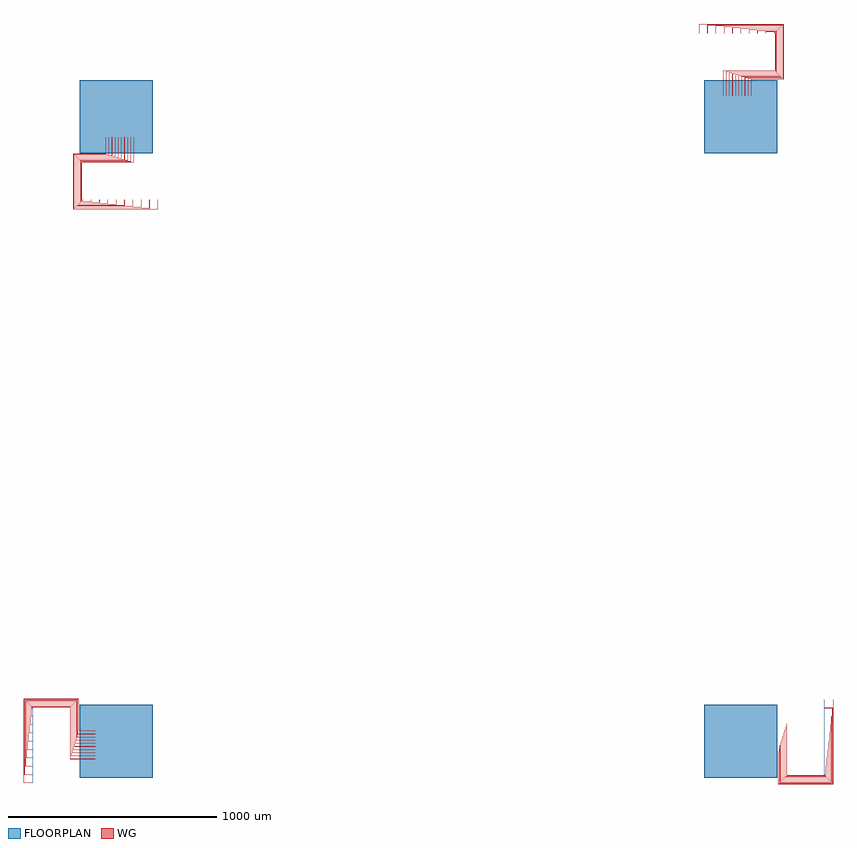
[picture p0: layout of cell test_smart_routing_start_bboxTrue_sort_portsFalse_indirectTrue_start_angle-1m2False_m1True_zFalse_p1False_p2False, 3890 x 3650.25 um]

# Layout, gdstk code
import gdstk
lib = gdstk.Library(unit=1e-6, precision=1e-09)
def R(c, l, rs):  # rectangles x0, y0, x1, y1
    for r in rs: c.add(gdstk.rectangle(r[:2], r[2:], *l))
def P(c, l, *ps):  # polygons
    for p in ps: c.add(gdstk.Polygon(p, *l))
WG = (1, 0)
FLOORPLAN = (10, 0)

test_smart_routing_start = lib.new_cell('test_smart_routing_start_bboxTrue_sort_portsFalse_indirectTrue_start_angle-1m2False_m1True_zFalse_p1False_p2False')
P(test_smart_routing_start, WG, [(-445,-200.25),(-445,205.25),(-179,205.25),(-179,50.25),(-100,50.25),(-100,49.75),(-179.5,49.75),(-179.5,204.75),(-444.5,204.75),(-444.5,-199.75),(-400,-199.75),(-400,-200.25)],
  [(-440.5,-160.25),(-440.5,200.75),(-183.5,200.75),(-183.5,35.25),(-100,35.25),(-100,34.75),(-184,34.75),(-184,200.25),(-440,200.25),(-440,-159.75),(-400,-159.75),(-400,-160.25)],
  [(-436,-120.25),(-436,196.25),(-188,196.25),(-188,20.25),(-100,20.25),(-100,19.75),(-188.5,19.75),(-188.5,195.75),(-435.5,195.75),(-435.5,-119.75),(-400,-119.75),(-400,-120.25)],
  [(-431.5,-80.25),(-431.5,191.75),(-192.5,191.75),(-192.5,5.25),(-100,5.25),(-100,4.75),(-193,4.75),(-193,191.25),(-431,191.25),(-431,-79.75),(-400,-79.75),(-400,-80.25)],
  [(-427,-40.25),(-427,187.25),(-197,187.25),(-197,-9.75),(-100,-9.75),(-100,-10.25),(-197.5,-10.25),(-197.5,186.75),(-426.5,186.75),(-426.5,-39.75),(-400,-39.75),(-400,-40.25)],
  [(-202,-25.25),(-202,182.25),(-422,182.25),(-422,0.25),(-400,0.25),(-400,-0.25),(-422.5,-0.25),(-422.5,182.75),(-201.5,182.75),(-201.5,-24.75),(-100,-24.75),(-100,-25.25)],
  [(-206.5,-40.25),(-206.5,177.75),(-417.5,177.75),(-417.5,40.25),(-400,40.25),(-400,39.75),(-418,39.75),(-418,178.25),(-206,178.25),(-206,-39.75),(-100,-39.75),(-100,-40.25)],
  [(-211,-55.25),(-211,173.25),(-413,173.25),(-413,80.25),(-400,80.25),(-400,79.75),(-413.5,79.75),(-413.5,173.75),(-210.5,173.75),(-210.5,-54.75),(-100,-54.75),(-100,-55.25)],
  [(-215.5,-70.25),(-215.5,168.75),(-408.5,168.75),(-408.5,120.25),(-400,120.25),(-400,119.75),(-409,119.75),(-409,169.25),(-215,169.25),(-215,-69.75),(-100,-69.75),(-100,-70.25)],
  [(-220,-85.25),(-220,164.25),(-404,164.25),(-404,160.25),(-400,160.25),(-400,159.75),(-404.5,159.75),(-404.5,164.75),(-219.5,164.75),(-219.5,-84.75),(-100,-84.75),(-100,-85.25)],
  [(-205.25,2555),(-205.25,2821),(-50.25,2821),(-50.25,2900),(-49.75,2900),(-49.75,2820.5),(-204.75,2820.5),(-204.75,2555.5),(199.75,2555.5),(199.75,2600),(200.25,2600),(200.25,2555)],
  [(-200.75,2559.5),(-200.75,2816.5),(-35.25,2816.5),(-35.25,2900),(-34.75,2900),(-34.75,2816),(-200.25,2816),(-200.25,2560),(159.75,2560),(159.75,2600),(160.25,2600),(160.25,2559.5)],
  [(-196.25,2564),(-196.25,2812),(-20.25,2812),(-20.25,2900),(-19.75,2900),(-19.75,2811.5),(-195.75,2811.5),(-195.75,2564.5),(119.75,2564.5),(119.75,2600),(120.25,2600),(120.25,2564)],
  [(-191.75,2568.5),(-191.75,2807.5),(-5.25,2807.5),(-5.25,2900),(-4.75,2900),(-4.75,2807),(-191.25,2807),(-191.25,2569),(79.75,2569),(79.75,2600),(80.25,2600),(80.25,2568.5)],
  [(-187.25,2573),(-187.25,2803),(9.75,2803),(9.75,2900),(10.25,2900),(10.25,2802.5),(-186.75,2802.5),(-186.75,2573.5),(39.75,2573.5),(39.75,2600),(40.25,2600),(40.25,2573)],
  [(-182.75,2577.5),(-182.75,2798.5),(24.75,2798.5),(24.75,2900),(25.25,2900),(25.25,2798),(-182.25,2798),(-182.25,2578),(-0.25,2578),(-0.25,2600),(0.25,2600),(0.25,2577.5)],
  [(-178.25,2582),(-178.25,2794),(39.75,2794),(39.75,2900),(40.25,2900),(40.25,2793.5),(-177.75,2793.5),(-177.75,2582.5),(-40.25,2582.5),(-40.25,2600),(-39.75,2600),(-39.75,2582)],
  [(-173.75,2586.5),(-173.75,2789.5),(54.75,2789.5),(54.75,2900),(55.25,2900),(55.25,2789),(-173.25,2789),(-173.25,2587),(-80.25,2587),(-80.25,2600),(-79.75,2600),(-79.75,2586.5)],
  [(-169.25,2591),(-169.25,2785),(69.75,2785),(69.75,2900),(70.25,2900),(70.25,2784.5),(-168.75,2784.5),(-168.75,2591.5),(-120.25,2591.5),(-120.25,2600),(-119.75,2600),(-119.75,2591)],
  [(-164.75,2595.5),(-164.75,2780.5),(84.75,2780.5),(84.75,2900),(85.25,2900),(85.25,2780),(-164.25,2780),(-164.25,2596),(-160.25,2596),(-160.25,2600),(-159.75,2600),(-159.75,2595.5)],
  [(3179,-205.25),(3179,-50.25),(3100,-50.25),(3100,-49.75),(3179.5,-49.75),(3179.5,-204.75),(3444.5,-204.75),(3444.5,199.75),(3400,199.75),(3400,200.25),(3445,200.25),(3445,-205.25)],
  [(3183.5,-200.75),(3183.5,-35.25),(3100,-35.25),(3100,-34.75),(3184,-34.75),(3184,-200.25),(3440,-200.25),(3440,159.75),(3400,159.75),(3400,160.25),(3440.5,160.25),(3440.5,-200.75)],
  [(3188,-196.25),(3188,-20.25),(3100,-20.25),(3100,-19.75),(3188.5,-19.75),(3188.5,-195.75),(3435.5,-195.75),(3435.5,119.75),(3400,119.75),(3400,120.25),(3436,120.25),(3436,-196.25)],
  [(3192.5,-191.75),(3192.5,-5.25),(3100,-5.25),(3100,-4.75),(3193,-4.75),(3193,-191.25),(3431,-191.25),(3431,79.75),(3400,79.75),(3400,80.25),(3431.5,80.25),(3431.5,-191.75)],
  [(3197,-187.25),(3197,9.75),(3100,9.75),(3100,10.25),(3197.5,10.25),(3197.5,-186.75),(3426.5,-186.75),(3426.5,39.75),(3400,39.75),(3400,40.25),(3427,40.25),(3427,-187.25)],
  [(3201.5,-182.75),(3201.5,24.75),(3100,24.75),(3100,25.25),(3202,25.25),(3202,-182.25),(3422,-182.25),(3422,-0.25),(3400,-0.25),(3400,0.25),(3422.5,0.25),(3422.5,-182.75)],
  [(3206,-178.25),(3206,39.75),(3100,39.75),(3100,40.25),(3206.5,40.25),(3206.5,-177.75),(3417.5,-177.75),(3417.5,-40.25),(3400,-40.25),(3400,-39.75),(3418,-39.75),(3418,-178.25)],
  [(3210.5,-173.75),(3210.5,54.75),(3100,54.75),(3100,55.25),(3211,55.25),(3211,-173.25),(3413,-173.25),(3413,-80.25),(3400,-80.25),(3400,-79.75),(3413.5,-79.75),(3413.5,-173.75)],
  [(3215,-169.25),(3215,69.75),(3100,69.75),(3100,70.25),(3215.5,70.25),(3215.5,-168.75),(3408.5,-168.75),(3408.5,-120.25),(3400,-120.25),(3400,-119.75),(3409,-119.75),(3409,-169.25)],
  [(3219.5,-164.75),(3219.5,84.75),(3100,84.75),(3100,85.25),(3220,85.25),(3220,-164.25),(3404,-164.25),(3404,-160.25),(3400,-160.25),(3400,-159.75),(3404.5,-159.75),(3404.5,-164.75)],
  [(3049.75,3100),(3049.75,3179.5),(3204.75,3179.5),(3204.75,3444.5),(2800.25,3444.5),(2800.25,3400),(2799.75,3400),(2799.75,3445),(3205.25,3445),(3205.25,3179),(3050.25,3179),(3050.25,3100)],
  [(3034.75,3100),(3034.75,3184),(3200.25,3184),(3200.25,3440),(2840.25,3440),(2840.25,3400),(2839.75,3400),(2839.75,3440.5),(3200.75,3440.5),(3200.75,3183.5),(3035.25,3183.5),(3035.25,3100)],
  [(3019.75,3100),(3019.75,3188.5),(3195.75,3188.5),(3195.75,3435.5),(2880.25,3435.5),(2880.25,3400),(2879.75,3400),(2879.75,3436),(3196.25,3436),(3196.25,3188),(3020.25,3188),(3020.25,3100)],
  [(3004.75,3100),(3004.75,3193),(3191.25,3193),(3191.25,3431),(2920.25,3431),(2920.25,3400),(2919.75,3400),(2919.75,3431.5),(3191.75,3431.5),(3191.75,3192.5),(3005.25,3192.5),(3005.25,3100)],
  [(2989.75,3100),(2989.75,3197.5),(3186.75,3197.5),(3186.75,3426.5),(2960.25,3426.5),(2960.25,3400),(2959.75,3400),(2959.75,3427),(3187.25,3427),(3187.25,3197),(2990.25,3197),(2990.25,3100)],
  [(2974.75,3100),(2974.75,3202),(3182.25,3202),(3182.25,3422),(3000.25,3422),(3000.25,3400),(2999.75,3400),(2999.75,3422.5),(3182.75,3422.5),(3182.75,3201.5),(2975.25,3201.5),(2975.25,3100)],
  [(2959.75,3100),(2959.75,3206.5),(3177.75,3206.5),(3177.75,3417.5),(3040.25,3417.5),(3040.25,3400),(3039.75,3400),(3039.75,3418),(3178.25,3418),(3178.25,3206),(2960.25,3206),(2960.25,3100)],
  [(2944.75,3100),(2944.75,3211),(3173.25,3211),(3173.25,3413),(3080.25,3413),(3080.25,3400),(3079.75,3400),(3079.75,3413.5),(3173.75,3413.5),(3173.75,3210.5),(2945.25,3210.5),(2945.25,3100)],
  [(2929.75,3100),(2929.75,3215.5),(3168.75,3215.5),(3168.75,3408.5),(3120.25,3408.5),(3120.25,3400),(3119.75,3400),(3119.75,3409),(3169.25,3409),(3169.25,3215),(2930.25,3215),(2930.25,3100)],
  [(2914.75,3100),(2914.75,3220),(3164.25,3220),(3164.25,3404),(3160.25,3404),(3160.25,3400),(3159.75,3400),(3159.75,3404.5),(3164.75,3404.5),(3164.75,3219.5),(2915.25,3219.5),(2915.25,3100)])
R(test_smart_routing_start, FLOORPLAN, [(-175,-175,175,175), (2825,-175,3175,175), (-175,2825,175,3175), (2825,2825,3175,3175)])
P(test_smart_routing_start, FLOORPLAN, [(-400,-200),(-400,160),(-400,160),(-400,-200)],
  [(-160,2600),(-160,2600),(200,2600),(200,2600)],
  [(3400,-160),(3400,200),(3400,200),(3400,-160)],
  [(2800,3400),(2800,3400),(3160,3400),(3160,3400)])

lib.write_gds('test_smart_routing_start_bboxTrue_sort_portsFalse_indirectTrue_start_angle-1m2False_m1True_zFalse_p1False_p2False.gds')
